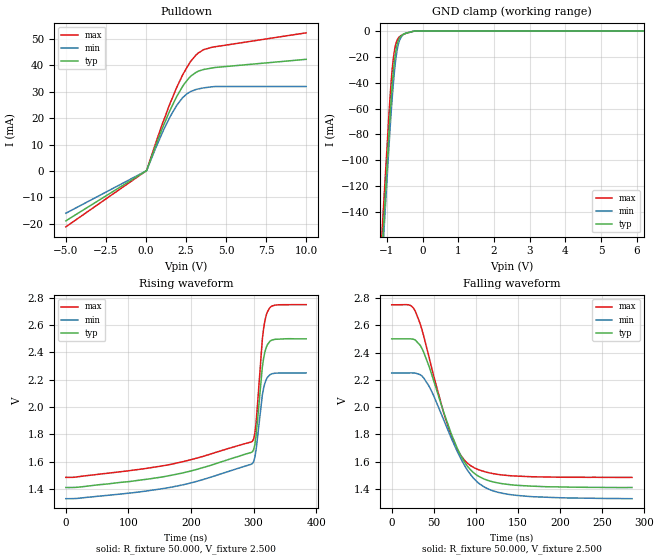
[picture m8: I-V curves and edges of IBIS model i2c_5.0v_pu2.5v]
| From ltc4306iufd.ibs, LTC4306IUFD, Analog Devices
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[Model]   i2c_5.0v_pu2.5v
Model_type I/O_open_drain
Vinl=5.200E-01
Vinh=2.000E+00
Vref=2.500E+00
Rref=2.700E+03
Cref=0.000E+00
Vmeas=1.250E+00
C_comp   1.380E-12   1.270E-12   1.490E-12
[Model spec]
Vref  2.50   2.25   2.75
Vinl  0.52   0.40   0.64
|Vinh
[Voltage Range]   5.000E+00   4.500E+00   5.500E+00
[POWER Clamp Reference]   5.000E+00   4.500E+00   5.500E+00
[GND Clamp Reference]   0.000E+00   0.000E+00   0.000E+00
[Pullup Reference]   5.000E+00   4.500E+00   5.500E+00
[Pulldown Reference]   0.000E+00   0.000E+00   0.000E+00
[Temperature Range]   25   85   -40
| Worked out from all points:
|   slope of the pulldown table from 0 to 0.75 V, typ, clamps not added: 63.2 ohm
|   GND clamp passes 1 mA (typ) near -0.37 V on its own axis
|   rising waveform, R_fixture 50.000, V_fixture 2.500: 20-80 % time 45ns typ, 63.9ns min, 22.8ns max; typ from 1.41 V to 2.5 V
|   falling waveform, R_fixture 50.000, V_fixture 2.500: 20-80 % time 38.4ns typ, 41.8ns min, 35.4ns max; typ from 2.5 V to 1.41 V
[GND Clamp]
-5V       -2.008A    -1.987A    -1.968A
-1.02V    -117.2mA   -126.9mA   -102mA
-940mV    -78.99mA   -89.36mA   -64.32mA
-880mV    -53.14mA   -63.47mA   -39.77mA
-820mV    -32.24mA   -41.43mA   -21.85mA
-760mV    -17.54mA   -24.41mA   -11.27mA
-700mV    -9.034mA   -13.03mA   -6.351mA
-640mV    -5.118mA   -6.912mA   -4.278mA
-580mV    -3.29mA    -3.891mA   -3.156mA
-460mV    -1.624mA   -1.588mA   -1.743mA
-220mV    0A         0A         0A
10V       0A         0A         0A
[Pulldown]
-5V       -18.87mA   -15.99mA   -21.15mA
20mV      73.93uA    62.39uA    83.36uA
1.12V     17.56mA    15.84mA    19.35mA
1.46V     22.45mA    19.98mA    24.91mA
1.9V      27.99mA    24.64mA    31.39mA
2.28V     31.97mA    27.72mA    36.27mA
2.58V     34.48mA    29.33mA    39.51mA
2.8V      35.95mA    30.14mA    41.61mA
3.24V     37.75mA    31.07mA    44.59mA
3.6V      38.47mA    31.5mA     45.99mA
4.12V     39.03mA    31.91mA    46.9mA
10V       42.32mA    32.02mA    52.36mA
[Rising Waveform]
R_fixture = 50.000
V_fixture = 2.500
V_fixture_min = 2.250
V_fixture_max = 2.750
|  time   V(typ)   V(min)   V(max)
0s        1.412V     1.33V      1.486V
170ns     1.502V     1.415V     1.583V
298ns     1.673V     1.586V     1.749V
302ns     1.724V     1.632V     1.807V
304ns     1.792V     1.688V     1.887V
314ns     2.295V     2.09V      2.498V
318ns     2.402V     2.174V     2.63V
322ns     2.456V     2.217V     2.697V
334ns     2.496V     2.248V     2.746V
384ns     2.5V       2.25V      2.75V
[Falling Waveform]
R_fixture = 50.000
V_fixture = 2.500
V_fixture_min = 2.250
V_fixture_max = 2.750
|  time   V(typ)   V(min)   V(max)
0s        2.5V       2.25V      2.75V
20ns      2.5V       2.251V     2.749V
28ns      2.492V     2.25V      2.704V
44ns      2.307V     2.158V     2.377V
70ns      1.82V      1.786V     1.805V
82ns      1.648V     1.626V     1.649V
94ns      1.54V      1.505V     1.571V
112ns     1.469V     1.409V     1.525V
138ns     1.435V     1.362V     1.5V
286ns     1.412V     1.33V      1.486V
[Ramp]
dV/dt_r   1.1204E+00/4.4930E-08   9.1751E-01/6.3700E-08   1.3406E+00/2.2740E-08
dV/dt_f   1.1204E+00/3.8320E-08   9.1751E-01/4.1676E-08   1.3406E+00/3.5187E-08
R_load = 50
